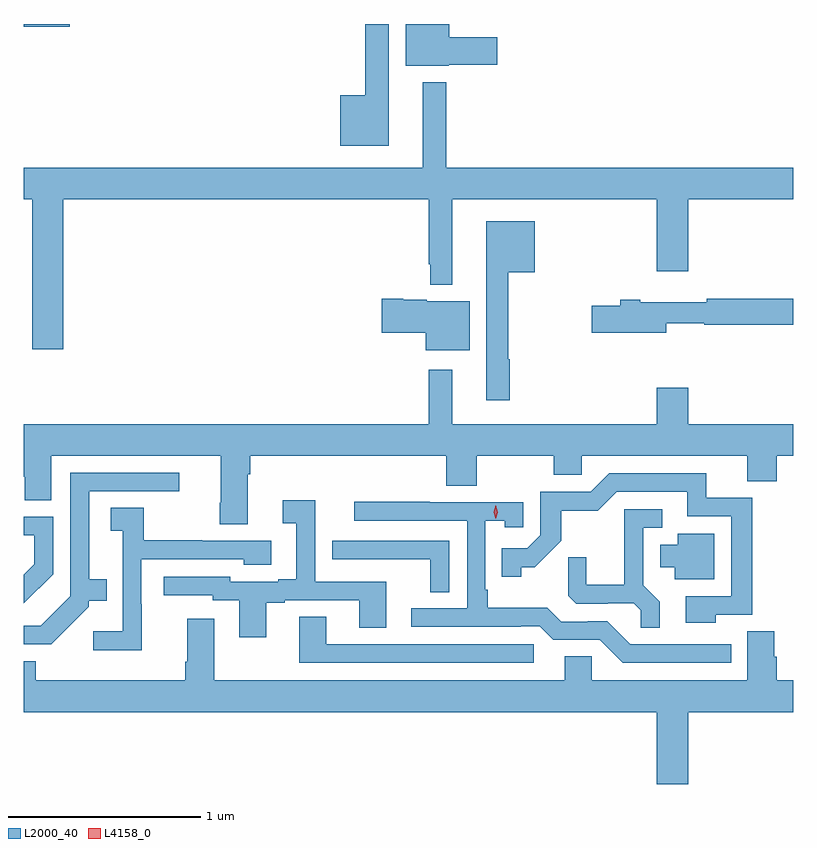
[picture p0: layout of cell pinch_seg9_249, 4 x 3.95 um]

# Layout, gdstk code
import gdstk
lib = gdstk.Library(unit=1e-6, precision=1e-09)
def R(c, l, rs):  # rectangles x0, y0, x1, y1
    for r in rs: c.add(gdstk.rectangle(r[:2], r[2:], *l))
def P(c, l, *ps):  # polygons
    for p in ps: c.add(gdstk.Polygon(p, *l))
L2000_40 = (2000, 40)
L4158_0 = (4158, 0)

pinch_seg9_249 = lib.new_cell('pinch_seg9_249')
R(pinch_seg9_249, L2000_40, [(437.442,1247.933,437.683,1247.947)])
P(pinch_seg9_249, L2000_40, [(439.339,1247.947),(439.218,1247.947),(439.218,1247.578),(439.088,1247.578),(439.088,1247.315),(439.339,1247.315)],
  [(439.65,1247.735),(439.903,1247.735),(439.903,1247.877),(439.654,1247.877),(439.654,1247.947),(439.427,1247.947),(439.427,1247.729),(439.65,1247.729)],
  [(439.517,1247.2),(437.442,1247.2),(437.442,1247.036),(437.488,1247.036),(437.488,1246.257),(437.648,1246.257),(437.648,1247.036),(439.548,1247.036),(439.548,1246.699),(439.555,1246.699),(439.555,1246.592),(439.669,1246.592),(439.669,1247.036),(440.732,1247.036),(440.732,1246.662),(440.896,1246.662),(440.896,1247.036),(441.442,1247.036),(441.442,1247.2),(439.639,1247.2),(439.639,1247.644),(439.517,1247.644)],
  [(439.969,1246.205),(439.961,1246.205),(439.961,1246.658),(440.098,1246.658),(440.098,1246.921),(439.847,1246.921),(439.847,1245.993),(439.969,1245.993)],
  [(439.759,1246.507),(439.536,1246.507),(439.536,1246.513),(439.414,1246.513),(439.414,1246.52),(439.302,1246.52),(439.302,1246.342),(439.532,1246.342),(439.532,1246.253),(439.759,1246.253)],
  [(440.782,1246.392),(440.978,1246.392),(440.978,1246.384),(441.442,1246.384),(441.442,1246.52),(440.992,1246.52),(440.992,1246.501),(440.647,1246.501),(440.647,1246.514),(440.543,1246.514),(440.543,1246.484),(440.394,1246.484),(440.394,1246.342),(440.782,1246.342)],
  [(438.607,1245.608),(438.62,1245.608),(438.62,1245.704),(439.637,1245.704),(439.637,1245.547),(439.797,1245.547),(439.797,1245.704),(440.197,1245.704),(440.197,1245.606),(440.343,1245.606),(440.343,1245.704),(441.203,1245.704),(441.203,1245.571),(441.356,1245.571),(441.356,1245.704),(441.442,1245.704),(441.442,1245.868),(440.896,1245.868),(440.896,1246.057),(440.732,1246.057),(440.732,1245.868),(439.669,1245.868),(439.669,1246.15),(439.548,1246.15),(439.548,1245.868),(437.442,1245.868),(437.442,1245.594),(437.449,1245.594),(437.449,1245.472),(437.587,1245.472),(437.587,1245.704),(438.467,1245.704),(438.467,1245.46),(438.46,1245.46),(438.46,1245.348),(438.607,1245.348)],
  [(437.781,1244.919),(437.781,1244.951),(437.873,1244.951),(437.873,1245.061),(437.782,1245.061),(437.782,1245.519),(438.25,1245.519),(438.25,1245.615),(437.685,1245.615),(437.685,1244.973),(437.532,1244.82),(437.442,1244.82),(437.442,1244.724),(437.586,1244.724)],
  [(441.039,1244.877),(441.229,1244.877),(441.229,1245.486),(440.99,1245.486),(440.99,1245.612),(440.484,1245.612),(440.388,1245.516),(440.127,1245.516),(440.127,1245.291),(440.058,1245.222),(439.927,1245.222),(439.927,1245.075),(440.028,1245.075),(440.028,1245.125),(440.098,1245.125),(440.236,1245.262),(440.236,1245.418),(440.425,1245.418),(440.523,1245.516),(440.891,1245.516),(440.891,1245.39),(441.12,1245.39),(441.12,1244.973),(440.883,1244.973),(440.883,1244.837),(441.039,1244.837)],
  [(438.703,1244.94),(438.799,1244.94),(438.799,1244.952),(439.187,1244.952),(439.187,1244.809),(439.327,1244.809),(439.327,1245.048),(438.957,1245.048),(438.957,1245.472),(438.789,1245.472),(438.789,1245.352),(438.86,1245.352),(438.86,1245.061),(438.764,1245.061),(438.764,1245.048),(438.516,1245.048),(438.516,1245.075),(438.171,1245.075),(438.171,1244.979),(438.426,1244.979),(438.426,1244.952),(438.563,1244.952),(438.563,1244.76),(438.703,1244.76)],
  [(441.118,1244.724),(440.595,1244.724),(440.475,1244.844),(440.374,1244.844),(440.374,1244.841),(440.235,1244.841),(440.162,1244.914),(439.855,1244.914),(439.855,1245.007),(439.842,1245.007),(439.842,1245.365),(439.941,1245.365),(439.941,1245.333),(440.037,1245.333),(440.037,1245.462),(439.553,1245.462),(439.553,1245.465),(439.161,1245.465),(439.161,1245.366),(439.746,1245.366),(439.746,1244.91),(439.455,1244.91),(439.455,1244.814),(440.024,1244.814),(440.024,1244.817),(440.124,1244.817),(440.193,1244.748),(440.436,1244.748),(440.556,1244.628),(441.118,1244.628)],
  [(438.057,1244.933),(438.054,1244.933),(438.054,1245.165),(438.585,1245.165),(438.585,1245.137),(438.73,1245.137),(438.73,1245.261),(438.371,1245.261),(438.371,1245.264),(438.067,1245.264),(438.067,1245.434),(437.895,1245.434),(437.895,1245.313),(437.958,1245.313),(437.958,1244.791),(437.805,1244.791),(437.805,1244.693),(438.057,1244.693)],
  [(440.747,1244.945),(440.661,1245.031),(440.661,1245.33),(440.761,1245.33),(440.761,1245.426),(440.564,1245.426),(440.564,1245.034),(440.366,1245.034),(440.366,1245.177),(440.272,1245.177),(440.272,1244.975),(440.313,1244.934),(440.478,1244.934),(440.478,1244.937),(440.612,1244.937),(440.649,1244.9),(440.649,1244.809),(440.747,1244.809)],
  [(437.595,1245.089),(437.595,1245.387),(437.442,1245.387),(437.442,1245.29),(437.498,1245.29),(437.498,1245.14),(437.442,1245.084),(437.442,1244.936)],
  [(441.031,1245.298),(440.84,1245.298),(440.84,1245.241),(440.75,1245.241),(440.75,1245.125),(440.825,1245.125),(440.825,1245.062),(441.031,1245.062)],
  [(439.653,1245.261),(439.047,1245.261),(439.047,1245.166),(439.159,1245.166),(439.159,1245.165),(439.555,1245.165),(439.555,1244.995),(439.653,1244.995)],
  [(440.092,1244.724),(439.015,1244.724),(439.015,1244.867),(438.875,1244.867),(438.875,1244.628),(440.092,1244.628)],
  [(440.732,1243.998),(440.896,1243.998),(440.896,1244.372),(441.442,1244.372),(441.442,1244.536),(441.356,1244.536),(441.356,1244.658),(441.343,1244.658),(441.343,1244.792),(441.203,1244.792),(441.203,1244.536),(440.394,1244.536),(440.394,1244.663),(440.255,1244.663),(440.255,1244.536),(438.433,1244.536),(438.433,1244.857),(438.293,1244.857),(438.293,1244.632),(438.281,1244.632),(438.281,1244.536),(437.504,1244.536),(437.504,1244.635),(437.442,1244.635),(437.442,1244.372),(440.732,1244.372)])
P(pinch_seg9_249, L4158_0, [(439.895,1245.375),(439.895,1245.375),(439.885,1245.411),(439.895,1245.447),(439.895,1245.447),(439.896,1245.447),(439.905,1245.411),(439.896,1245.375)])

lib.write_gds('pinch_seg9_249.gds')
